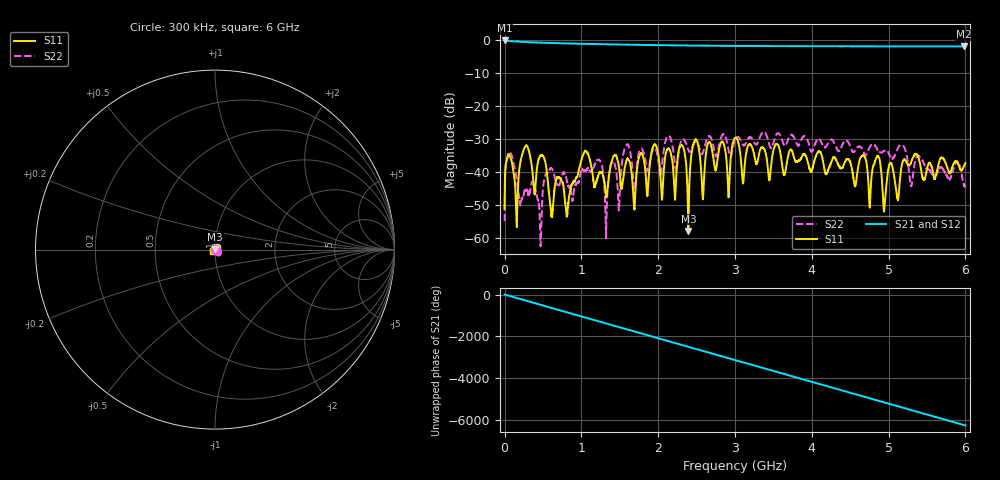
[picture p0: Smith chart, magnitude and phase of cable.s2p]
!  8/6/2020  01:05:33
! Ref Plane: 0.000 mm
# MHZ S MA R  50
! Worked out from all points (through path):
!   10001 points, 300 kHz to 6 GHz, reference 50 ohm
!   highest |S21| = 0.00 dB at 900 kHz (marker M1); lowest = -1.8 dB at 5.981 GHz (marker M2)
!   group delay of S21, straight-line fit = 2.9 ns
!   lowest |S11| = -57.9 dB at 2.392 GHz (marker M3), VSWR 1.00, Z = 50.1 + j0.107 ohm
!   |S11| at or under -10 dB: start of sweep to end of sweep
!   |S22| runs from -62.5 to -27.8 dB; largest |S21 - S12| = 0.014
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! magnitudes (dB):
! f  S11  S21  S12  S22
! 300 kHz  -51.2  0.0  -0.1  -54.9
! 900 kHz  -49.5  0.0  0.0  -52.4
! 65.1 MHz  -34.8  -0.2  -0.2  -33.8
! 155.1 MHz  -54.9  -0.3  -0.3  -41.6
! 282.3 MHz  -31.9  -0.5  -0.5  -45.7
! 811.5 MHz  -53.4  -0.9  -0.9  -42.8
! 1 GHz  -36.3  -1.0  -1.0  -39.6
! 1.239 GHz  -39.9  -1.1  -1.1  -36.5
! 1.323 GHz  -47.6  -1.2  -1.2  -57.9
! 1.594 GHz  -36.0  -1.3  -1.3  -31.6
! 1.687 GHz  -51.1  -1.3  -1.3  -46.7
! 2.001 GHz  -34.5  -1.4  -1.4  -36.5
! 2.218 GHz  -48.2  -1.5  -1.5  -37.8
! 2.311 GHz  -31.9  -1.5  -1.5  -30.1
! 2.392 GHz  -57.9  -1.5  -1.5  -33.3
! 2.48 GHz  -30.2  -1.6  -1.5  -30.8
! 2.581 GHz  -48.3  -1.6  -1.6  -34.2
! 3 GHz  -29.6  -1.7  -1.6  -30.2
! 4 GHz  -39.5  -1.7  -1.7  -33.8
! 5 GHz  -38.5  -1.8  -1.8  -34.2
! 5.981 GHz  -38.2  -1.8  -1.8  -43.7
! 6 GHz  -37.2  -1.8  -1.8  -44.2
